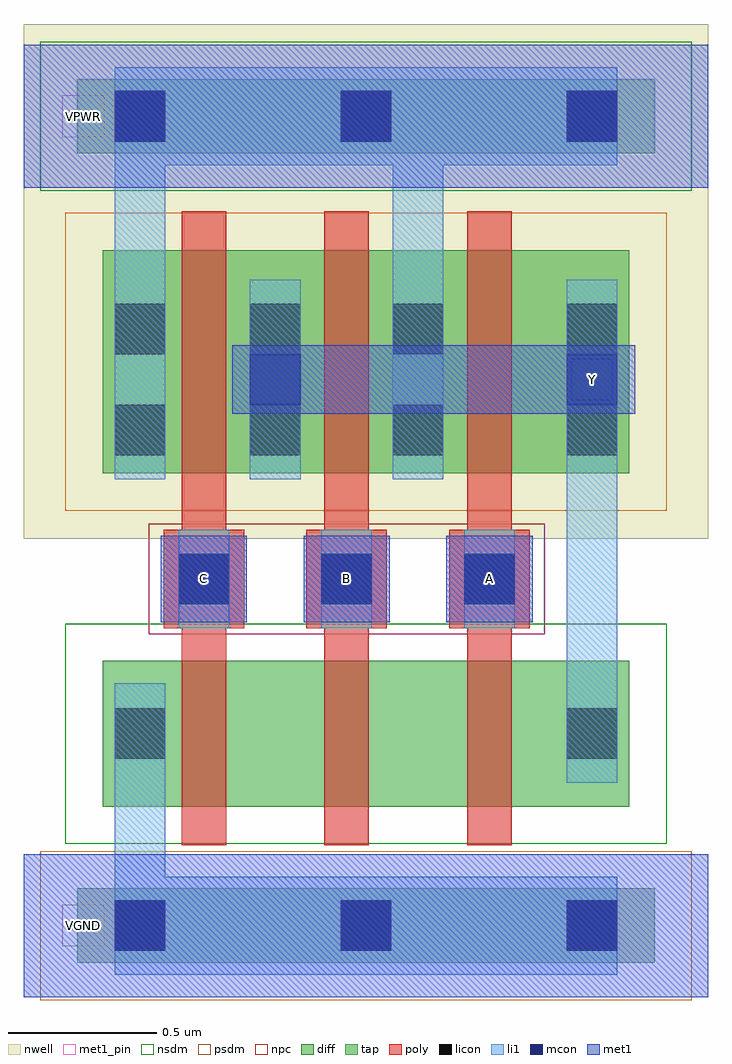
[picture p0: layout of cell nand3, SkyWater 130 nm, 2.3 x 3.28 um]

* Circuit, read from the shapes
.subckt nand3 A B C VGND VPWR Y
XM1 n1 C VGND VGND sky130_fd_pr__nfet_01v8 w=0.49 l=0.15
XM2 n2 B n1 VGND sky130_fd_pr__nfet_01v8 w=0.49 l=0.15
XM3 Y A n2 VGND sky130_fd_pr__nfet_01v8 w=0.49 l=0.15
XM4 Y C VPWR VPWR sky130_fd_pr__pfet_01v8 w=0.75 l=0.15
XM5 VPWR B Y VPWR sky130_fd_pr__pfet_01v8 w=0.75 l=0.15
XM6 Y A VPWR VPWR sky130_fd_pr__pfet_01v8 w=0.75 l=0.15
.ends

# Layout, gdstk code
import gdstk
lib = gdstk.Library(unit=1e-6, precision=1e-09)
def R(c, l, rs):  # rectangles x0, y0, x1, y1
    for r in rs: c.add(gdstk.rectangle(r[:2], r[2:], *l))
def A(c, l, x, y, w, h, nx, ny, dx, dy):  # array of equal rectangles
    R(c, l, [(x+i*dx, y+j*dy, x+i*dx+w, y+j*dy+h) for i in range(nx) for j in range(ny)])
nwell = (64, 20)
diff = (65, 20)
tap = (65, 44)
poly = (66, 20)
licon = (66, 44)
li1 = (67, 20)
mcon = (67, 44)
met1_pin = (68, 16)
met1 = (68, 20)
nsdm = (93, 44)
psdm = (94, 20)
npc = (95, 20)

nand3 = lib.new_cell('nand3')
R(nand3, nwell, [(0,1.3,2.3,3.03)])
R(nand3, diff, [(0.265,0.4,2.035,0.89), (0.265,1.52,2.035,2.27)])
R(nand3, tap, [(0.18,-0.125,2.12,0.125), (0.18,2.595,2.12,2.845)])
A(nand3, poly, 0.53, 0.27, 0.15, 2.13, 3, 1, 0.48, 0)
A(nand3, poly, 0.47, 1, 0.27, 0.33, 3, 1, 0.48, 0)
A(nand3, licon, 0.305, -0.085, 0.17, 0.17, 3, 2, 0.76, 2.72)
A(nand3, licon, 0.52, 1.08, 0.17, 0.17, 3, 1, 0.48, 0)
R(nand3, licon, [(0.305,0.56,0.475,0.73), (1.825,0.56,1.995,0.73), (0.305,1.58,0.475,1.75), (0.76,1.58,0.93,1.75), (1.24,1.58,1.41,1.75), (1.825,1.58,1.995,1.75), (0.305,1.92,0.475,2.09), (0.76,1.92,0.93,2.09), (1.24,1.92,1.41,2.09), (1.825,1.92,1.995,2.09)])
A(nand3, li1, 0.52, 1, 0.17, 0.33, 3, 1, 0.48, 0)
R(nand3, li1, [(0.305,-0.165,1.995,0.165), (0.305,-0.165,0.475,0.815), (1.825,0.48,1.995,2.17), (0.305,1.5,0.475,2.17), (0.76,1.5,0.93,2.17), (1.24,1.5,1.41,2.17), (1.825,1.5,1.995,2.17), (0.305,2.17,0.475,2.72), (1.24,2.17,1.41,2.72), (0.305,2.555,1.995,2.885)])
A(nand3, mcon, 0.305, -0.085, 0.17, 0.17, 3, 2, 0.76, 2.72)
A(nand3, mcon, 0.52, 1.08, 0.17, 0.17, 3, 1, 0.48, 0)
R(nand3, mcon, [(0.76,1.75,0.93,1.92), (1.825,1.75,1.995,1.92)])
A(nand3, met1_pin, 0.535, 1.095, 0.14, 0.14, 3, 1, 0.48, 0)
R(nand3, met1_pin, [(0.13,-0.07,0.27,0.07), (1.84,1.765,1.98,1.905), (0.13,2.65,0.27,2.79)])
A(nand3, met1, 0.46, 1.02, 0.29, 0.29, 3, 1, 0.48, 0)
R(nand3, met1, [(0,-0.24,2.3,0.24), (0.7,1.72,2.055,1.95), (0,2.48,2.3,2.96)])
R(nand3, nsdm, [(0.14,0.275,2.16,1.015), (0.055,2.47,2.245,2.97)])
R(nand3, psdm, [(0.055,-0.25,2.245,0.25), (0.14,1.395,2.16,2.395)])
R(nand3, npc, [(0.42,0.98,1.75,1.35)])
nand3.add(gdstk.Label('C', (0.605,1.165), layer=68, texttype=16))
nand3.add(gdstk.Label('B', (1.085,1.165), layer=68, texttype=16))
nand3.add(gdstk.Label('A', (1.565,1.165), layer=68, texttype=16))
nand3.add(gdstk.Label('VGND', (0.2,0), layer=68, texttype=16))
nand3.add(gdstk.Label('VPWR', (0.2,2.72), layer=68, texttype=16))
nand3.add(gdstk.Label('Y', (1.91,1.835), layer=68, texttype=16))
nand3.add(gdstk.Label('C', (0.605,1.165), layer=68, texttype=5))
nand3.add(gdstk.Label('B', (1.085,1.165), layer=68, texttype=5))
nand3.add(gdstk.Label('A', (1.565,1.165), layer=68, texttype=5))
nand3.add(gdstk.Label('VGND', (0.2,0), layer=68, texttype=5))
nand3.add(gdstk.Label('VPWR', (0.2,2.72), layer=68, texttype=5))
nand3.add(gdstk.Label('Y', (1.91,1.835), layer=68, texttype=5))

lib.write_gds('nand3.gds')
